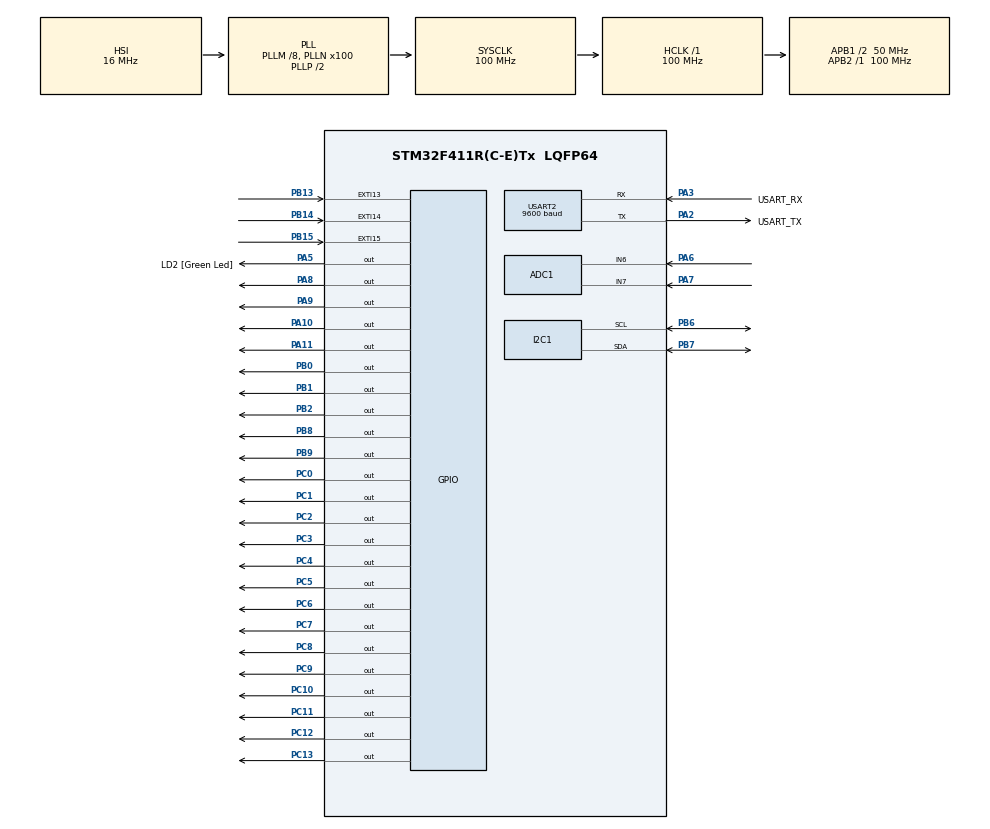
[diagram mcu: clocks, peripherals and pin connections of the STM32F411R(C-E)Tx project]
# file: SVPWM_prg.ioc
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ADC1.Channel-1\#ChannelRegularConversion=ADC_CHANNEL_6
ADC1.Channel-2\#ChannelRegularConversion=ADC_CHANNEL_7
ADC1.ContinuousConvMode=ENABLE
ADC1.DMAContinuousRequests=ENABLE
ADC1.NbrOfConversion=2
ADC1.NbrOfConversionFlag=1
ADC1.Rank-1\#ChannelRegularConversion=1
ADC1.Rank-2\#ChannelRegularConversion=2
ADC1.SamplingTime-1\#ChannelRegularConversion=ADC_SAMPLETIME_480CYCLES
ADC1.SamplingTime-2\#ChannelRegularConversion=ADC_SAMPLETIME_480CYCLES
ADC1.ScanConvMode=ENABLE
ADC1.master=1
Dma.ADC1.0.Direction=DMA_PERIPH_TO_MEMORY
Dma.ADC1.0.FIFOMode=DMA_FIFOMODE_DISABLE
Dma.ADC1.0.Instance=DMA2_Stream0
Dma.ADC1.0.MemDataAlignment=DMA_MDATAALIGN_HALFWORD
Dma.ADC1.0.MemInc=DMA_MINC_ENABLE
Dma.ADC1.0.Mode=DMA_CIRCULAR
Dma.ADC1.0.PeriphDataAlignment=DMA_PDATAALIGN_HALFWORD
Dma.ADC1.0.PeriphInc=DMA_PINC_DISABLE
Dma.ADC1.0.Priority=DMA_PRIORITY_LOW
Dma.Request0=ADC1
Mcu.Family=STM32F4
Mcu.Name=STM32F411R(C-E)Tx
Mcu.Package=LQFP64
NVIC.DMA2_Stream0_IRQn=true\:6\:0\:true\:false\:true\:false\:true
NVIC.EXTI15_10_IRQn=true\:0\:0\:false\:false\:true\:true\:true
NVIC.I2C1_ER_IRQn=true\:7\:0\:true\:false\:true\:true\:true
NVIC.I2C1_EV_IRQn=true\:7\:0\:true\:false\:true\:true\:true
NVIC.PriorityGroup=NVIC_PRIORITYGROUP_4
NVIC.TIM1_TRG_COM_TIM11_IRQn=true\:0\:0\:false\:false\:true\:true\:true
NVIC.TIM1_UP_TIM10_IRQn=true\:5\:0\:true\:false\:true\:true\:true
NVIC.TIM3_IRQn=true\:8\:0\:true\:false\:true\:true\:true
NVIC.USART2_IRQn=true\:1\:0\:true\:false\:true\:true\:true
PA10.Signal=GPIO_Output
PA11.Signal=GPIO_Output
PA13.GPIO_Label=TMS
PA13.Mode=Serial_Wire
PA13.Signal=SYS_JTMS-SWDIO
PA14.GPIO_Label=TCK
PA14.Mode=Serial_Wire
PA14.Signal=SYS_JTCK-SWCLK
PA2.GPIO_Label=USART_TX
PA2.Mode=Asynchronous
PA2.Signal=USART2_TX
PA3.GPIO_Label=USART_RX
PA3.Mode=Asynchronous
PA3.Signal=USART2_RX
PA5.GPIO_Label=LD2 [Green Led]
PA5.Signal=GPIO_Output
PA6.Signal=ADCx_IN6
PA7.Signal=ADCx_IN7
PA8.Signal=GPIO_Output
PA9.Signal=GPIO_Output
PB0.Signal=GPIO_Output
PB1.Signal=GPIO_Output
PB13.GPIO_ModeDefaultEXTI=GPIO_MODE_IT_RISING
PB13.Signal=GPXTI13
PB14.Signal=GPXTI14
PB15.Signal=GPXTI15
PB2.Signal=GPIO_Output
PB3.GPIO_Label=SWO
PB3.Signal=SYS_JTDO-SWO
PB6.GPIO_PuPdOD=GPIO_NOPULL
PB6.Mode=I2C
PB6.Signal=I2C1_SCL
PB7.GPIO_PuPdOD=GPIO_NOPULL
PB7.Mode=I2C
PB7.Signal=I2C1_SDA
PB8.GPIO_Speed=GPIO_SPEED_FREQ_VERY_HIGH
PB8.Signal=GPIO_Output
PB9.GPIO_Speed=GPIO_SPEED_FREQ_VERY_HIGH
PB9.Signal=GPIO_Output
PC0.GPIO_Speed=GPIO_SPEED_FREQ_VERY_HIGH
PC0.Signal=GPIO_Output
PC1.GPIO_Speed=GPIO_SPEED_FREQ_VERY_HIGH
PC1.Signal=GPIO_Output
PC10.GPIO_Speed=GPIO_SPEED_FREQ_VERY_HIGH
PC10.Signal=GPIO_Output
PC11.GPIO_Speed=GPIO_SPEED_FREQ_VERY_HIGH
PC11.Signal=GPIO_Output
PC12.GPIO_Speed=GPIO_SPEED_FREQ_VERY_HIGH
PC12.Signal=GPIO_Output
PC13-ANTI_TAMP.Signal=GPIO_Output
PC2.GPIO_Speed=GPIO_SPEED_FREQ_VERY_HIGH
PC2.Signal=GPIO_Output
PC3.GPIO_Speed=GPIO_SPEED_FREQ_VERY_HIGH
PC3.Signal=GPIO_Output
PC4.GPIO_Speed=GPIO_SPEED_FREQ_VERY_HIGH
PC4.Signal=GPIO_Output
PC5.GPIO_Speed=GPIO_SPEED_FREQ_VERY_HIGH
PC5.Signal=GPIO_Output
PC6.GPIO_Speed=GPIO_SPEED_FREQ_VERY_HIGH
PC6.Signal=GPIO_Output
PC7.GPIO_Speed=GPIO_SPEED_FREQ_VERY_HIGH
PC7.Signal=GPIO_Output
PC8.GPIO_Speed=GPIO_SPEED_FREQ_VERY_HIGH
PC8.Signal=GPIO_Output
PC9.GPIO_Speed=GPIO_SPEED_FREQ_VERY_HIGH
PC9.Signal=GPIO_Output
PH0\ -\ OSC_IN.Mode=HSE-External-Clock-Source
PH0\ -\ OSC_IN.Signal=RCC_OSC_IN
PH1\ -\ OSC_OUT.Mode=HSE-External-Clock-Source
PH1\ -\ OSC_OUT.Signal=RCC_OSC_OUT
ProjectManager.HeapSize=0x200
ProjectManager.StackSize=0x400
ProjectManager.TargetToolchain=SW4STM32
RCC.48MHZClocksFreq_Value=50000000
RCC.AHBFreq_Value=100000000
RCC.APB1CLKDivider=RCC_HCLK_DIV2
RCC.APB1Freq_Value=50000000
RCC.APB1TimFreq_Value=100000000
RCC.APB2Freq_Value=100000000
RCC.APB2TimFreq_Value=100000000
RCC.CortexFreq_Value=100000000
RCC.FLatency-AdvancedSettings=FLASH_LATENCY_3
RCC.HCLKFreq_Value=100000000
RCC.HSE_VALUE=8000000
RCC.HSI_VALUE=16000000
RCC.LSE_VALUE=32768
RCC.PLLM=8
RCC.PLLN=100
RCC.SYSCLKFreq_VALUE=100000000
RCC.SYSCLKSource=RCC_SYSCLKSOURCE_PLLCLK
RCC.VCOOutputFreq_Value=200000000
SH.ADCx_IN6.0=ADC1_IN6,IN6
SH.ADCx_IN7.0=ADC1_IN7,IN7
TIM10.AutoReloadPreload=TIM_AUTORELOAD_PRELOAD_ENABLE
TIM10.Period=49
TIM10.Prescaler=999
TIM11.AutoReloadPreload=TIM_AUTORELOAD_PRELOAD_ENABLE
TIM11.Period=9
TIM11.Prescaler=99
TIM3.AutoReloadPreload=TIM_AUTORELOAD_PRELOAD_ENABLE
TIM3.Period=999
TIM3.Prescaler=999
USART2.BaudRate=9600
USART2.VirtualMode=VM_ASYNC
VP_TIM10_VS_ClockSourceINT.Mode=Enable_Timer
VP_TIM11_VS_ClockSourceINT.Mode=Enable_Timer
VP_TIM3_VS_ClockSourceINT.Mode=Internal
board=NUCLEO-F411RE

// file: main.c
/* USER CODE BEGIN Header */
/**
  ******************************************************************************
  * @file           : main.c
  * @brief          : Main program body
  ******************************************************************************
  * @attention
  *
  * <h2><center>&copy; Copyright (c) 2023 STMicroelectronics.
  * All rights reserved.</center></h2>
  *
  * This software component is licensed by ST under BSD 3-Clause license,
  * the "License"; You may not use this file except in compliance with the
  * License. You may obtain a copy of the License at:
  *                        opensource.org/licenses/BSD-3-Clause
  *
  ******************************************************************************
  */
/* USER CODE END Header */
#include "main.h"
#include "adc.h"
#include "dma.h"
#include "i2c.h"
#include "tim.h"
#include "usart.h"
#include "gpio.h"

/* USER CODE BEGIN PTD */
#define FPGA 1
/* USER CODE END PTD */

/* USER CODE BEGIN PV */
#include <math.h>
#include <string.h>
#include "lcd_i2c.h"
#include "sin_lookup.h"
#include "string.h"
#include "MRB_VSI.h"
#define PI 3.141592653//;
#define one_by_sqrt6 0.40824829
#define one_by_sqrt2 0.70710678
#define sqrt2_by_sqrt3 0.816496581
#define pi_by_3 1.04719755
#define Ts 0.00002 // 200 kHz timer
#define Deadtime 0.00002 // 200 kHz timer
#define Timp 0.0005 //1kHz  updating sin,cons and atan2, switching happens 6xTimp -> 6kHz
float u_alfa;
float u_beta;
float u_zero; //zero U can be added if assymetry
float angle; //actual angle of PLL alfa beta vectors
int sektor; // actual sector of PLL angle (1 of 6);
float u_alfa_1; //part of alfa vector
float u_alfa_2; //part of beta vector
float u_beta_1;
float u_beta_2;
double imp_counter;
double time1_vector,time2_vector,time0_vector;
float U_dc;
short int OUT[6][3] = {{1,0,0},{1,1,0},{0,1,0},{0,1,1},{0,0,1},{1,0,1}}; //space vectors
short int OUT0[3] = {0,0,0}; //zero vectors, 0 [0,0,0] or 7 [1,1,1]
float Magnitude; //Magnitude of sinusoid for U/f control
double time; //time counter
float frequency;
unsigned short int T1,T2,T3,T4,T5,T6;

union TState
{
struct ThyriState
{
	short unsigned int GPIO0:1;
	short unsigned int GPIO1:1;
	short unsigned int GPIO2:1;
	short unsigned int GPIO3:1;
	short unsigned int GPIO4:1;
	short unsigned int GPIO5:1;
	short unsigned int rest:10;
}GpioState;
short unsigned int GPIO16bit;
}TState16bit,T_LastState16bit, Bits_changed_xor; //16 bit gpio bits for port C 6 ports represented by tranzistors

volatile static uint16_t adc[2]; //adc read DMA
uint32_t cntrl;  //32bits for 4 bytes from UART -> remote control
uint16_t f_set;  //intiger frequency from UART, has to be divided by 10;

struct lcd_disp disp;
char str_freq[8]; //frequency for sending through uart

enum VSI_STATE VSI_state;
enum VSI_CONTROL VSI_control;
struct RAMP_PARAMS Ramp;

//TO FPGA
uint16_t u_timer_vector1,u_timer_vector2;

/* USER CODE END PV */

void SystemClock_Config(void);

int main(void)
{
  /* USER CODE BEGIN 1 */
	U_dc = 540; //Napiecie DC, normalnie by³oby mierzone na uk³adzie posredniczaczym pomiedzy zaciskami kondensatora

	TState16bit.GpioState.rest = 0;
	T_LastState16bit.GpioState.rest = 0;

	Ramp.ramp_enable = 1;
  /* USER CODE END 1 */

  /* MCU Configuration--------------------------------------------------------*/

  /* Reset of all peripherals, Initializes the Flash interface and the Systick. */
  HAL_Init();

  /* Configure the system clock */
  SystemClock_Config();

  /* Initialize all configured peripherals */
  MX_GPIO_Init();
  MX_DMA_Init();
  MX_TIM10_Init();
  MX_ADC1_Init();
  MX_TIM3_Init();
  MX_I2C1_Init();
  MX_USART2_UART_Init();
  MX_TIM11_Init();
  /* USER CODE BEGIN 2 */
  HAL_TIM_Base_Start_IT(&htim10);
#ifndef FPGA
  HAL_TIM_Base_Start_IT(&htim11);
#endif
 HAL_TIM_Base_Start_IT(&htim3);

  HAL_ADC_Start_DMA(&hadc1, &adc, 2);
  HAL_UART_Transmit_IT(&huart2, "\nF0     ", strlen("\nF0     "));
  HAL_UART_Receive_IT(&huart2, &cntrl, 4);

  disp.addr=(0x27<<1);
  disp.bl=1;
  lcd_init(&disp);
  lcd_clear(&disp);
  sprintf((char *)disp.f_line,"STARTING");
  HAL_Delay(2000);
  lcd_display(&disp);

  /* USER CODE END 2 */

  /* Infinite loop */
  /* USER CODE BEGIN WHILE */
  while (1)
  {
	  f_set = frequency;
	  if(VSI_state == on)
	  {
		  sprintf((char *)disp.f_line,"INV ON freq:%d", f_set);
		  HAL_Delay(400);
		  lcd_display(&disp);

	  }
	  else if (VSI_state == off)
	  {
		  sprintf((char *)disp.f_line,"INV OFF freq:%d", f_set);
		  HAL_Delay(400);
		  lcd_display(&disp);
	  }

    /* USER CODE END WHILE */

  }
}

void SystemClock_Config(void)
{
  RCC_OscInitTypeDef RCC_OscInitStruct = {0};
  RCC_ClkInitTypeDef RCC_ClkInitStruct = {0};

  /** Configure the main internal regulator output voltage
  */
  __HAL_RCC_PWR_CLK_ENABLE();
  __HAL_PWR_VOLTAGESCALING_CONFIG(PWR_REGULATOR_VOLTAGE_SCALE1);
  /** Initializes the RCC Oscillators according to the specified parameters
  * in the RCC_OscInitTypeDef structure.
  */
  RCC_OscInitStruct.OscillatorType = RCC_OSCILLATORTYPE_HSI;
  RCC_OscInitStruct.HSIState = RCC_HSI_ON;
  RCC_OscInitStruct.HSICalibrationValue = RCC_HSICALIBRATION_DEFAULT;
  RCC_OscInitStruct.PLL.PLLState = RCC_PLL_ON;
  RCC_OscInitStruct.PLL.PLLSource = RCC_PLLSOURCE_HSI;
  RCC_OscInitStruct.PLL.PLLM = 8;
  RCC_OscInitStruct.PLL.PLLN = 100;
  RCC_OscInitStruct.PLL.PLLP = RCC_PLLP_DIV2;
  RCC_OscInitStruct.PLL.PLLQ = 4;
  if (HAL_RCC_OscConfig(&RCC_OscInitStruct) != HAL_OK)
  {
    Error_Handler();
  }
  /** Initializes the CPU, AHB and APB buses clocks
  */
  RCC_ClkInitStruct.ClockType = RCC_CLOCKTYPE_HCLK|RCC_CLOCKTYPE_SYSCLK
                              |RCC_CLOCKTYPE_PCLK1|RCC_CLOCKTYPE_PCLK2;
  RCC_ClkInitStruct.SYSCLKSource = RCC_SYSCLKSOURCE_PLLCLK;
  RCC_ClkInitStruct.AHBCLKDivider = RCC_SYSCLK_DIV1;
  RCC_ClkInitStruct.APB1CLKDivider = RCC_HCLK_DIV2;
  RCC_ClkInitStruct.APB2CLKDivider = RCC_HCLK_DIV1;

  if (HAL_RCC_ClockConfig(&RCC_ClkInitStruct, FLASH_LATENCY_3) != HAL_OK)
  {
    Error_Handler();
  }
}

/* USER CODE BEGIN 4 */

void HAL_UART_RxCpltCallback(UART_HandleTypeDef *huart)
{
	if(huart->Instance == USART2)
	{

		// ON AND OFF
		if (cntrl == 0x31314141) //Start command AA11
		{
		VSI_state = on;
		HAL_UART_Transmit_IT(&huart2, "\nVSI on ", strlen("\nVSI on ")); // confirm sending message
		ErrorCode = NoError;
		}
		else if (cntrl == 0x32324141) //Off command AA22
		{
		VSI_state = off;
		HAL_UART_Transmit_IT(&huart2, "\nVSI off", strlen("\nVSI off")); // confirm sending message
		ErrorCode = NoError;
		}

		// SEE ACTUAL FREQUENCY
		else if (cntrl == 0x31314343) //Off command CC11 command to print frequency
		{
		MRB_FLOAT_TO_ASCII(str_freq,frequency);
		//HAL_UART_Transmit_IT(&huart2, "\nSet frequency: " , strlen("\nSet frequency: "));
		HAL_UART_Transmit_IT(&huart2, str_freq , 8); // confirm sending message
		ErrorCode = NoError;
		}
		//START RAMP
		else if (cntrl == 0x45454444) //Start ramp command DDEE
				{
				VSI_control = ramp;
				HAL_UART_Transmit_IT(&huart2, "\nRamp ok", strlen("\nRamp ok")); // confirm sending message
				ErrorCode = NoError;
				}

		// SOFT START
		else if ((cntrl|0xFFFF0000) == 0xFFFF4443) //Off command CDxx command to make a soft start, xx is time of soft start lasts till reaching 50 Hz
		{
			if(MRB_ASCII_ISNUMBER((cntrl&0xFF000000)>>24)&&MRB_ASCII_ISNUMBER((cntrl&0x00FF0000)>>16))
			{
				if(MRB_ASCII_TO_NUMBER((cntrl&0x00FF0000)>>16) > 2) //Maximal time of soft start is 29
				{
					HAL_UART_Transmit_IT(&huart2, "\nF4     ", strlen("\nF4     ")); //Set time is too long
					ErrorCode = SetTimeTooLong;
				}
				else
				{
					Ramp.ramp_time = MRB_ASCII_TO_NUMBER((cntrl&0x00FF0000)>>16)*10+MRB_ASCII_TO_NUMBER((cntrl&0xFF000000)>>24);
					HAL_UART_Transmit_IT(&huart2, "\nSSrt ok", strlen("\nSSrt ok")); //command  time set ok
					VSI_control = soft_start;
					ErrorCode = NoError;
				}
			}else
				{
				HAL_UART_Transmit_IT(&huart2, "\nF3     ", strlen("\nF3     ")); //Wrong input - this is not a number
				ErrorCode = NotANumber;
				}
		}

		// SOFT STOP
		else if ((cntrl|0xFFFF0000) == 0xFFFF4543) //Off command CExx command to make a soft stop, xx is time of soft stop lasts till reaching 0 Hz
		{
			if(MRB_ASCII_ISNUMBER((cntrl&0xFF000000)>>24)&&MRB_ASCII_ISNUMBER((cntrl&0x00FF0000)>>16))
			{
				if(MRB_ASCII_TO_NUMBER((cntrl&0x00FF0000)>>16) > 2) //Maximal time of soft start is 29
				{
					HAL_UART_Transmit_IT(&huart2, "\nF4     ", strlen("\nF4     ")); //Set time is too long
					ErrorCode = SetTimeTooLong;
				}
				else
				{
					Ramp.ramp_time = MRB_ASCII_TO_NUMBER((cntrl&0x00FF0000)>>16)*10+MRB_ASCII_TO_NUMBER((cntrl&0xFF000000)>>24);
					HAL_UART_Transmit_IT(&huart2, "\nStop ok", strlen("\nStop ok")); //command  time set ok
					VSI_control = soft_stop;
					ErrorCode = NoError;
				}
			}else
				{
				HAL_UART_Transmit_IT(&huart2, "\nF3     ", strlen("\nF3     ")); //Wrong input - this is not a number
				ErrorCode = NotANumber;
				}
		}

		// SET frequency of ramp
		else if ((cntrl|0xFFFFFF00) == 0xFFFFFF44) //Dxxx command to set ramp end frequency
		{
			if(MRB_ASCII_ISNUMBER((cntrl&0xFF000000)>>24)&&MRB_ASCII_ISNUMBER((cntrl&0x00FF0000)>>16)&&MRB_ASCII_ISNUMBER((cntrl&0x0000FF00)>>8))
			{
					if(MRB_ASCII_TO_NUMBER((cntrl&0x0000FF00)>>8) > 5) //Maximal possible frequency is 59.9
					{
						HAL_UART_Transmit_IT(&huart2, "\nF2     ", strlen("\nF2     ")); //Set Frequency is too high
						ErrorCode = SetFreqTooHigh;
					}
					else
					{
						Ramp.set_ramp_freqency = MRB_ASCII_TO_NUMBER((cntrl&0x0000FF00)>>8)*10+MRB_ASCII_TO_NUMBER((cntrl&0x00FF0000)>>16)+MRB_ASCII_TO_NUMBER((cntrl&0xFF000000)>>24)*0.1;

						HAL_UART_Transmit_IT(&huart2, "\nfreq ok", strlen("\nfreq ok")); //command set freq ok
						ErrorCode = NoError;
					}

			}else
				{

				HAL_UART_Transmit_IT(&huart2, "\nF3     ", strlen("\nF3     ")); //Wrong input - frequency is not a number
				ErrorCode = NotANumber;
				}
		}
		// SET time of ramp
		else if ((cntrl|0xFFFFFF00) == 0xFFFFFF45) //Exxx command to set ramp end frequency
		{
			if(MRB_ASCII_ISNUMBER((cntrl&0xFF000000)>>24)&&MRB_ASCII_ISNUMBER((cntrl&0x00FF0000)>>16)&&MRB_ASCII_ISNUMBER((cntrl&0x0000FF00)>>8))
			{
					if(MRB_ASCII_TO_NUMBER((cntrl&0x0000FF00)>>8) > 5) //Maximal possible frequency is 59.9
					{
						HAL_UART_Transmit_IT(&huart2, "\nF2     ", strlen("\nF2     ")); //Set Frequency is too high
						ErrorCode = SetFreqTooHigh;
					}
					else
					{
						Ramp.ramp_time = MRB_ASCII_TO_NUMBER((cntrl&0x0000FF00)>>8)*10+MRB_ASCII_TO_NUMBER((cntrl&0x00FF0000)>>16)+MRB_ASCII_TO_NUMBER((cntrl&0xFF000000)>>24)*0.1;

						HAL_UART_Transmit_IT(&huart2, "\ntime ok", strlen("\ntime ok")); //command set freq ok
						ErrorCode = NoError;
					}

			}else
				{

				HAL_UART_Transmit_IT(&huart2, "\nF3     ", strlen("\nF3     ")); //Wrong input - frequency is not a number
				ErrorCode = NotANumber;
				}
		}

		// SET FREQUENCY IMMIDIATELY
		//If command B -> Set speed 0 - 500 (which is equeal to 0 - 50.0 Hz) //B(speed - 3 marks)
		else if ((cntrl|0xFFFFFF00) == 0xFFFFFF42)
		{
			if(MRB_ASCII_ISNUMBER((cntrl&0xFF000000)>>24)&&MRB_ASCII_ISNUMBER((cntrl&0x00FF0000)>>16)&&MRB_ASCII_ISNUMBER((cntrl&0x0000FF00)>>8))
			{
				if(MRB_ASCII_TO_NUMBER((cntrl&0x0000FF00)>>8) > 5) //Maximal possible frequency is 59.9
				{
					HAL_UART_Transmit_IT(&huart2, "\nF2     ", strlen("\nF2     ")); //Set Frequency is too high
					ErrorCode = SetFreqTooHigh;
				}
				else
				{
					frequency = MRB_ASCII_TO_NUMBER((cntrl&0x0000FF00)>>8)*10+MRB_ASCII_TO_NUMBER((cntrl&0x00FF0000)>>16)+MRB_ASCII_TO_NUMBER((cntrl&0xFF000000)>>24)*0.1;

					HAL_UART_Transmit_IT(&huart2, "\nfreq ok", strlen("\nfreq ok")); //command set freq ok
					ErrorCode = NoError;
				}

			}else
				{

				HAL_UART_Transmit_IT(&huart2, "\nF3     ", strlen("\nF3     ")); //Wrong input - frequency is not a number
				ErrorCode = NotANumber;
				}

		}

		// ERROR INPUT
		else
			{
			HAL_UART_Transmit_IT(&huart2, "\nF1     ", strlen("\nF1     ")); //Wrong input
			ErrorCode = WrongInputCode;
			}
		}

		// WAIT FOR ANOTHER RECEIVE
		VSI_state ? HAL_GPIO_WritePin(GPIOA, GPIO_PIN_5, GPIO_PIN_SET) : HAL_GPIO_WritePin(GPIOA, GPIO_PIN_5, GPIO_PIN_RESET);
		HAL_UART_Receive_IT(&huart2, &cntrl, 4);

}

void HAL_TIM_PeriodElapsedCallback(TIM_HandleTypeDef *htim)
{

	//Timer for switching transistors 6 kHz

	if(htim->Instance == TIM10)
	{

		if ( (VSI_state == on) &&  frequency > 0.5)
		{

		Magnitude = frequency*0.02*330;
		//Clark transform
		time = time + Timp;

		u_alfa = Magnitude*sin(2*PI*frequency*time);
		u_beta=Magnitude*cos(2*PI*frequency*time);
		angle=atan2f(u_beta,u_alfa);

		if(angle<0) angle=angle+2*PI; // shift 2pi for negative values

		sektor=floor(angle);
		switch (sektor)
				{
				case 0:
					u_alfa_1=sqrt2_by_sqrt3*U_dc;
					u_beta_1=0;
					u_alfa_2=one_by_sqrt6*U_dc;
					u_beta_2=one_by_sqrt2*U_dc;

					break;
				case 1:
					u_alfa_1=one_by_sqrt6*U_dc;
					u_beta_1=one_by_sqrt2*U_dc;
					u_alfa_2=-one_by_sqrt6*U_dc;
					u_beta_2=one_by_sqrt2*U_dc;
					break;
				case 2:
					u_alfa_1=-one_by_sqrt6*U_dc;
					u_beta_1=one_by_sqrt2*U_dc;
					u_alfa_2=-sqrt2_by_sqrt3*U_dc;
					u_beta_2=0;
					break;
				case 3:
					u_alfa_1=-sqrt2_by_sqrt3*U_dc;
					u_beta_1=0;
					u_alfa_2=-one_by_sqrt6*U_dc;
					u_beta_2=-one_by_sqrt2*U_dc;
					break;
				case 4:
					u_alfa_1=-one_by_sqrt6*U_dc;
					u_beta_1=-one_by_sqrt2*U_dc;
					u_alfa_2=one_by_sqrt6*U_dc;
					u_beta_2=-one_by_sqrt2*U_dc;
					break;
				case 5:
					u_alfa_1=one_by_sqrt6*U_dc;
					u_beta_1=-one_by_sqrt2*U_dc;
					u_alfa_2=sqrt2_by_sqrt3*U_dc;
					u_beta_2=0;
					break;
				}
		time1_vector =	Timp*( u_alfa*u_beta_2-u_beta*u_alfa_2)/(u_alfa_1*u_beta_2-u_beta_1*u_alfa_2);
		time2_vector = Timp*( -u_alfa*u_beta_1+u_beta*u_alfa_1)/(u_alfa_1*u_beta_2-u_beta_1*u_alfa_2);
		time0_vector = Timp - time1_vector - time2_vector;
#ifdef FPGA
		u_timer_vector1 = (time1_vector*500000);
		u_timer_vector2 = (time2_vector*500000);
		HAL_GPIO_WritePin(GPIOC, ~((u_timer_vector1<<8)+u_timer_vector2) , GPIO_PIN_RESET);
		HAL_GPIO_WritePin(GPIOC, ((u_timer_vector1<<8)+u_timer_vector2) , GPIO_PIN_SET);
		HAL_GPIO_WritePin(GPIOB, ~((u_timer_vector1&0xC0)<<2) , GPIO_PIN_RESET);
		HAL_GPIO_WritePin(GPIOB, ((u_timer_vector1&0xC0)<<2) , GPIO_PIN_SET);
		HAL_GPIO_WritePin(GPIOA, (~(sektor<<8))&0x0F00 , GPIO_PIN_RESET);
		HAL_GPIO_WritePin(GPIOA, (sektor<<8) , GPIO_PIN_SET);
#endif
		}
		else
		{
			u_timer_vector1 = 0;
			u_timer_vector2 = 0;
			HAL_GPIO_WritePin(GPIOC, 0xFFFF , GPIO_PIN_RESET);
			HAL_GPIO_WritePin(GPIOB, 0x0FFF , GPIO_PIN_RESET);
			HAL_GPIO_WritePin(GPIOA, 0x0F00 , GPIO_PIN_RESET);

		}

	}

#ifndef FPGA
	////Timer for couting and interrupting 200 kHz
	if(htim->Instance == TIM11)
	{
		if ( (VSI_state == on) && frequency > 0.5)
		{
		//determination of optimal zero vector -> reducing thyristor switching
		if ((T1+T2+T3)== 2)
		{
		OUT0[0]=1;
		OUT0[1]=1;
		OUT0[2]=1;
		}
		else if ((T1+T2+T3)== 1)
		{
		OUT0[0]=0;
		OUT0[1]=0;
		OUT0[2]=0;
		}
		if (imp_counter<=time1_vector)
		{
		T1 = OUT[sektor][0];
		T4 = !OUT[sektor][0];
		T2 = OUT[sektor][1];
		T5 = !OUT[sektor][1];
		T3 = OUT[sektor][2];
		T6 = !OUT[sektor][2];
		}

		else if (imp_counter<=(time1_vector+time2_vector))
		{
		if (sektor==5)
		{
		T1 = OUT[0][0];
		T4 = !OUT[0][0];
		T2 = OUT[0][1];
		T5 = !OUT[0][1];
		T3 = OUT[0][2];
		T6 = !OUT[0][2];
		}
		else
		{
		T1 = OUT[sektor+1][0];
		T4 = !OUT[sektor+1][0];
		T2 = OUT[sektor+1][1];
		T5 = !OUT[sektor+1][1];
		T3 = OUT[sektor+1][2];
		T6 = !OUT[sektor+1][2];
		}
		}
		else if (imp_counter<=Timp)
		{
		T1 = OUT0[0];
		T4 = !OUT0[0];
		T2 = OUT0[1];
		T5 = !OUT0[1];
		T3 = OUT0[2];
		T6 = !OUT0[2];
		}
		else if (imp_counter<=(Timp+time2_vector))
		{
		if (sektor==5)
		{
		T1 = OUT[0][0];
		T4 = !OUT[0][0];
		T2 = OUT[0][1];
		T5 = !OUT[0][1];
		T3 = OUT[0][2];
		T6 = !OUT[0][2];

		}
		else
		{
		T1 = OUT[sektor+1][0];
		T4 = !OUT[sektor+1][0];
		T2 = OUT[sektor+1][1];
		T5 = !OUT[sektor+1][1];
		T3 = OUT[sektor+1][2];
		T6 = !OUT[sektor+1][2];
		}
		}
		else if (imp_counter<=(Timp+time2_vector+time1_vector))
		{
		T1 = OUT[sektor][0];
		T4 = !OUT[sektor][0];
		T2 = OUT[sektor][1];
		T5 = !OUT[sektor][1];
		T3 = OUT[sektor][2];
		T6 = !OUT[sektor][2];
		}
		else if (imp_counter<=2*Timp)
		{
		T1 = OUT0[0];
		T4 = !OUT0[0];
		T2 = OUT0[1];
		T5 = !OUT0[1];
		T3 = OUT0[2];
		T6 = !OUT0[2];
		}
		imp_counter=imp_counter+Ts;
		if (imp_counter>=2*Timp)
		{
			imp_counter=0;
		}
		T_LastState16bit.GPIO16bit = TState16bit.GPIO16bit;
		//T1 -> GPIOC 0
		//T2 -> GPIOC 2
		//T3 -> GPIOC 4
		//T4 -> GPIOC 1
		//T5-> GPIOC 3
		//T6 -> GPIOC 5
		TState16bit.GpioState.GPIO0 = T1;
		TState16bit.GpioState.GPIO1 = T4;
		TState16bit.GpioState.GPIO2 = T2;
		TState16bit.GpioState.GPIO3 = T5;
		TState16bit.GpioState.GPIO4 = T3;
		TState16bit.GpioState.GPIO5 = T6;

		Bits_changed_xor.GPIO16bit = TState16bit.GPIO16bit^T_LastState16bit.GPIO16bit; //if there was a change of tranzistor, Bitmask isn't equal zero
		HAL_GPIO_WritePin(GPIOC, ((Bits_changed_xor.GPIO16bit)) , GPIO_PIN_RESET);
		//Bits for GPIO are masked with Bits_changed_xor. If there was o change, tranzistor will delay turning on till next cycle -> cycle lasts for a Deadtime
		//1 cycle last for 0.2us (200ns) -> thats a time of Deadtime;
		//HAL_GPIO_WritePin(GPIOC, (TState16bit.GPIO16bit & (~Bits_changed_xor.GPIO16bit)) , GPIO_PIN_SET);
		HAL_GPIO_WritePin(GPIOC, (TState16bit.GPIO16bit) , GPIO_PIN_SET);
		}
		else{
			TState16bit.GPIO16bit = 0x0;
			HAL_GPIO_WritePin(GPIOC, (0xFFFF) , GPIO_PIN_RESET);
			}

	}
#endif
	if(htim->Instance == TIM3)
	{
		//Master algorithm control //// 100 Hz updating
		//Place for PIDs etc, observers algorithms etc.
		if (VSI_state == on)
		{

			switch(VSI_control)
			{
			case wait:
				break;
			case soft_start:
				MRB_VSI_SoftStart(&frequency, Ramp.ramp_time, 0.01);
				if (fabs(frequency - 50) < 0.05)
					{
					VSI_control = wait;
					}
				break;

			case soft_stop:
				MRB_VSI_SoftStop(&frequency, Ramp.ramp_time, 0.01);
				if (fabs(frequency - 0) < 0.05)
					{
					VSI_control = wait;
					}
				break;

			case ramp:

				MRB_VSI_Ramp(&frequency,Ramp.set_ramp_freqency, Ramp.ramp_time, 0.01, &Ramp.ramp_enable);

				if (fabs(frequency - Ramp.set_ramp_freqency) < 0.05)
					{
					VSI_control = wait;
					Ramp.ramp_enable = 1;
					}
				else
				break;
			}

		}
	}

}

void HAL_GPIO_EXTI_Callback(uint16_t GPIO_pin)
{
	if(GPIO_pin == GPIO_PIN_13)
	{
		VSI_state = on;
	}
	if(GPIO_pin == GPIO_PIN_14)
	{
		VSI_state = off;
	}
	if(GPIO_pin == GPIO_PIN_15)
	{

		frequency=adc[0]*0.014648; //set frequency from 0 to 60 Hz
	}
	VSI_state ? HAL_GPIO_WritePin(GPIOA, GPIO_PIN_5, GPIO_PIN_SET) : HAL_GPIO_WritePin(GPIOA,GPIO_PIN_5, GPIO_PIN_RESET);
}

#ifdef SINLUT
unsigned int SLT_sinus(unsigned int time)
{
	return slt[time];
}
#endif
/* USER CODE END 4 */

void Error_Handler(void)
{
  __disable_irq();
  while (1)
  {
  }
}

/************************ (C) COPYRIGHT STMicroelectronics *****END OF FILE****/
